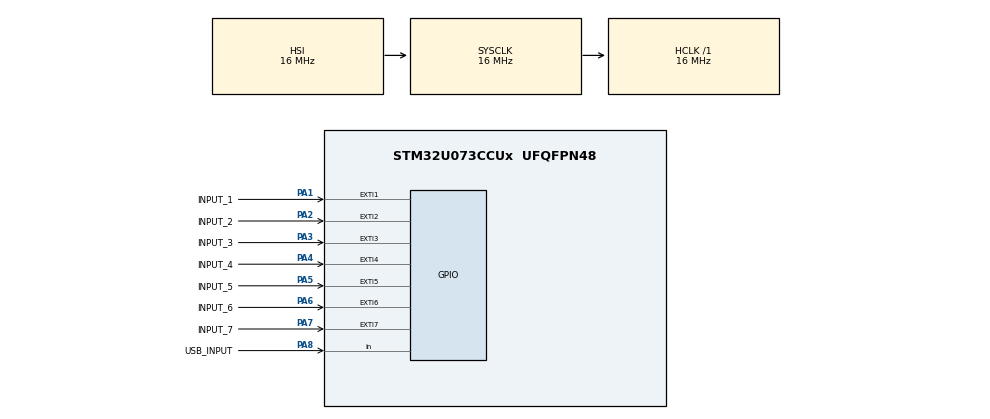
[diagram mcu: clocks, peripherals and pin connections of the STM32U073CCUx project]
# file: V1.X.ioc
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Dma.Request0=TIM2_CH1
Dma.Request1=TIM2_CH2
Dma.TIM2_CH1.0.Direction=DMA_MEMORY_TO_PERIPH
Dma.TIM2_CH1.0.EventEnable=DISABLE
Dma.TIM2_CH1.0.Instance=DMA1_Channel1
Dma.TIM2_CH1.0.MemDataAlignment=DMA_MDATAALIGN_HALFWORD
Dma.TIM2_CH1.0.MemInc=DMA_MINC_ENABLE
Dma.TIM2_CH1.0.Mode=DMA_CIRCULAR
Dma.TIM2_CH1.0.PeriphDataAlignment=DMA_PDATAALIGN_WORD
Dma.TIM2_CH1.0.PeriphInc=DMA_PINC_DISABLE
Dma.TIM2_CH1.0.Polarity=HAL_DMAMUX_REQ_GEN_RISING
Dma.TIM2_CH1.0.Priority=DMA_PRIORITY_HIGH
Dma.TIM2_CH1.0.RequestNumber=1
Dma.TIM2_CH1.0.SignalID=NONE
Dma.TIM2_CH1.0.SyncEnable=DISABLE
Dma.TIM2_CH1.0.SyncPolarity=HAL_DMAMUX_SYNC_NO_EVENT
Dma.TIM2_CH1.0.SyncRequestNumber=1
Dma.TIM2_CH1.0.SyncSignalID=NONE
Dma.TIM2_CH2.1.Direction=DMA_MEMORY_TO_PERIPH
Dma.TIM2_CH2.1.EventEnable=DISABLE
Dma.TIM2_CH2.1.Instance=DMA1_Channel2
Dma.TIM2_CH2.1.MemDataAlignment=DMA_MDATAALIGN_WORD
Dma.TIM2_CH2.1.MemInc=DMA_MINC_ENABLE
Dma.TIM2_CH2.1.Mode=DMA_CIRCULAR
Dma.TIM2_CH2.1.PeriphDataAlignment=DMA_PDATAALIGN_WORD
Dma.TIM2_CH2.1.PeriphInc=DMA_PINC_DISABLE
Dma.TIM2_CH2.1.Polarity=HAL_DMAMUX_REQ_GEN_RISING
Dma.TIM2_CH2.1.Priority=DMA_PRIORITY_HIGH
Dma.TIM2_CH2.1.RequestNumber=1
Dma.TIM2_CH2.1.SignalID=NONE
Dma.TIM2_CH2.1.SyncEnable=DISABLE
Dma.TIM2_CH2.1.SyncPolarity=HAL_DMAMUX_SYNC_NO_EVENT
Dma.TIM2_CH2.1.SyncRequestNumber=1
Dma.TIM2_CH2.1.SyncSignalID=NONE
Mcu.Family=STM32U0
Mcu.Name=STM32U073CCUx
Mcu.Package=UFQFPN48
NVIC.DMA1_Channel1_IRQn=true\:0\:0\:false\:false\:true\:false\:true\:true
NVIC.DMA1_Channel2_3_IRQn=true\:0\:0\:false\:false\:true\:false\:true\:true
NVIC.EXTI0_1_IRQn=true\:0\:0\:false\:false\:false\:true\:true\:true
NVIC.EXTI2_3_IRQn=true\:0\:0\:false\:false\:false\:true\:true\:true
NVIC.EXTI4_15_IRQn=true\:0\:0\:false\:false\:false\:true\:true\:true
NVIC.PriorityGroup=NVIC_PRIORITYGROUP_2
NVIC.TIM2_IRQn=true\:0\:0\:false\:false\:true\:true\:true\:true
PA1.GPIO_Label=INPUT_1
PA1.GPIO_PuPd=GPIO_PULLDOWN
PA1.Signal=GPXTI1
PA2.GPIO_Label=INPUT_2
PA2.GPIO_PuPd=GPIO_PULLDOWN
PA2.Signal=GPXTI2
PA3.GPIO_Label=INPUT_3
PA3.GPIO_PuPd=GPIO_PULLDOWN
PA3.Signal=GPXTI3
PA4.GPIO_Label=INPUT_4
PA4.GPIO_PuPd=GPIO_PULLDOWN
PA4.Signal=GPXTI4
PA5.GPIO_Label=INPUT_5
PA5.GPIO_PuPd=GPIO_PULLDOWN
PA5.Signal=GPXTI5
PA6.GPIO_Label=INPUT_6
PA6.GPIO_PuPd=GPIO_PULLDOWN
PA6.Signal=GPXTI6
PA7.GPIO_Label=INPUT_7
PA7.GPIO_PuPd=GPIO_PULLDOWN
PA7.Signal=GPXTI7
PA8.GPIO_Label=USB_INPUT
PA8.GPIO_PuPd=GPIO_PULLDOWN
PA8.Signal=GPIO_Input
ProjectManager.HeapSize=0x200
ProjectManager.StackSize=0x400
ProjectManager.TargetToolchain=CMake
RCC.AHBFreq_Value=16000000
RCC.CortexFreq_Value=16000000
RCC.HCLKFreq_Value=16000000
RCC.HSE_VALUE=4000000
RCC.HSI48_VALUE=48000000
RCC.HSI_VALUE=16000000
RCC.LSE_VALUE=32768
RCC.MSIClockRangeVal=RCC_MSIRANGE_11
RCC.MSI_VALUE=48000000
RCC.SYSCLKFreq_VALUE=16000000
RCC.USBFreq_Value=48000000
RCC.VCOOutputFreq_Value=64000000
RCC.VDD_VALUE=3
TIM2.Channel-PWM\ Generation1\ No\ Output=TIM_CHANNEL_1
TIM2.Channel-PWM\ Generation2\ No\ Output=TIM_CHANNEL_2
TIM2.Period=124
TIM2.Prescaler=15
TIM2.Pulse-PWM\ Generation2\ No\ Output=10
VP_PWR_VS_SECSignals.Mode=Security/Privilege
VP_TIM2_VS_ClockSourceINT.Mode=Internal
VP_TIM2_VS_no_output1.Mode=PWM Generation1 No Output
VP_TIM2_VS_no_output2.Mode=PWM Generation2 No Output
board=custom

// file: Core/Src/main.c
/* USER CODE BEGIN Header */
/**
  ******************************************************************************
  * @file           : main.c
  * @brief          : Main program body
  ******************************************************************************
  * @attention
  *
  * Copyright (c) 2026 STMicroelectronics.
  * All rights reserved.
  *
  * This software is licensed under terms that can be found in the LICENSE file
  * in the root directory of this software component.
  * If no LICENSE file comes with this software, it is provided AS-IS.
  *
  ******************************************************************************
  */
/* USER CODE END Header */
#include "main.h"

/* USER CODE BEGIN Includes */

#include <stdbool.h>
#include "connect-4-board.h"

/* USER CODE END Includes */

/* USER CODE BEGIN PD */

#define MODER_REG_INPUT   0x00000000U  // [1:0] = 00 == Input
#define MODER_REG_OUTPUT  0x55555555U  // [1:0] = 01 == Output

// These represent GPIO pin numbers in port B, which could change between hardware versions
#define ROW_6_POS         0U
#define ROW_5_POS         1U
#define ROW_4_POS         2U
#define ROW_3_POS         3U
#define ROW_2_POS         4U
#define ROW_1_POS         5U

#define COL_1_POS         6U
#define COL_2_POS         7U
#define COL_3_POS         8U
#define COL_4_POS         9U
#define COL_5_POS         10U
#define COL_6_POS         11U
#define COL_7_POS         12U

// ODR bits (16 bit reg)
// Bit operations are taken care of by compiler, so at runtime it will be a constant
#define ROW_6_ODR         ((uint16_t)(1U << ROW_6_POS))

#define COL_1_ODR         ((uint16_t)(1U << COL_1_POS))

// MODER bits (32 bit reg)
#define ROW_6_MODER       ((uint32_t)(0x3UL << (ROW_6_POS * 2)))
#define ROW_5_MODER       ((uint32_t)(0x3UL << (ROW_5_POS * 2)))
#define ROW_4_MODER       ((uint32_t)(0x3UL << (ROW_4_POS * 2)))
#define ROW_3_MODER       ((uint32_t)(0x3UL << (ROW_3_POS * 2)))
#define ROW_2_MODER       ((uint32_t)(0x3UL << (ROW_2_POS * 2)))
#define ROW_1_MODER       ((uint32_t)(0x3UL << (ROW_1_POS * 2)))

#define COL_1_MODER       ((uint32_t)(0x3UL << (COL_1_POS * 2)))
#define COL_2_MODER       ((uint32_t)(0x3UL << (COL_2_POS * 2)))
#define COL_3_MODER       ((uint32_t)(0x3UL << (COL_3_POS * 2)))
#define COL_4_MODER       ((uint32_t)(0x3UL << (COL_4_POS * 2)))
#define COL_5_MODER       ((uint32_t)(0x3UL << (COL_5_POS * 2)))
#define COL_6_MODER       ((uint32_t)(0x3UL << (COL_6_POS * 2)))
#define COL_7_MODER       ((uint32_t)(0x3UL << (COL_7_POS * 2)))
/* USER CODE END PD */

/* USER CODE BEGIN PM */

#define EXTI_LINES_1_7_MASK    (EXTI_IMR1_IM1 | EXTI_IMR1_IM2 | EXTI_IMR1_IM3 | \
                                EXTI_IMR1_IM4 | EXTI_IMR1_IM5 | EXTI_IMR1_IM6 | \
                                EXTI_IMR1_IM7)

#define EXTI_LINES_1_7_PENDING (EXTI_RPR1_RPIF1 | EXTI_RPR1_RPIF2 | EXTI_RPR1_RPIF3 | \
                                EXTI_RPR1_RPIF4 | EXTI_RPR1_RPIF5 | EXTI_RPR1_RPIF6 | \
                                EXTI_RPR1_RPIF7)

/* USER CODE END PM */

TIM_HandleTypeDef htim2;
DMA_HandleTypeDef hdma_tim2_ch1;
DMA_HandleTypeDef hdma_tim2_ch2;

/* USER CODE BEGIN PV */

volatile uint8_t player_button_input = 0U; // Stores pressed button ID (1-7). 0 means no input.
volatile bool input_received = false;      // Flag to signal the game loop

volatile uint32_t gpiob_pin_modes[42] = {
    (ROW_6_MODER | COL_1_MODER) & MODER_REG_OUTPUT, // Bitboard 0 (Bottom Left)
    (ROW_5_MODER | COL_1_MODER) & MODER_REG_OUTPUT, // Bitboard 1
    (ROW_4_MODER | COL_1_MODER) & MODER_REG_OUTPUT, // Bitboard 2
    (ROW_3_MODER | COL_1_MODER) & MODER_REG_OUTPUT, // etc
    (ROW_2_MODER | COL_1_MODER) & MODER_REG_OUTPUT,
    (ROW_1_MODER | COL_1_MODER) & MODER_REG_OUTPUT,

    (ROW_6_MODER | COL_2_MODER) & MODER_REG_OUTPUT,
    (ROW_5_MODER | COL_2_MODER) & MODER_REG_OUTPUT,
    (ROW_4_MODER | COL_2_MODER) & MODER_REG_OUTPUT,
    (ROW_3_MODER | COL_2_MODER) & MODER_REG_OUTPUT,
    (ROW_2_MODER | COL_2_MODER) & MODER_REG_OUTPUT,
    (ROW_1_MODER | COL_2_MODER) & MODER_REG_OUTPUT,

    (ROW_6_MODER | COL_3_MODER) & MODER_REG_OUTPUT,
    (ROW_5_MODER | COL_3_MODER) & MODER_REG_OUTPUT,
    (ROW_4_MODER | COL_3_MODER) & MODER_REG_OUTPUT,
    (ROW_3_MODER | COL_3_MODER) & MODER_REG_OUTPUT,
    (ROW_2_MODER | COL_3_MODER) & MODER_REG_OUTPUT,
    (ROW_1_MODER | COL_3_MODER) & MODER_REG_OUTPUT,

    (ROW_6_MODER | COL_4_MODER) & MODER_REG_OUTPUT,
    (ROW_5_MODER | COL_4_MODER) & MODER_REG_OUTPUT,
    (ROW_4_MODER | COL_4_MODER) & MODER_REG_OUTPUT,
    (ROW_3_MODER | COL_4_MODER) & MODER_REG_OUTPUT,
    (ROW_2_MODER | COL_4_MODER) & MODER_REG_OUTPUT,
    (ROW_1_MODER | COL_4_MODER) & MODER_REG_OUTPUT,

    (ROW_6_MODER | COL_5_MODER) & MODER_REG_OUTPUT,
    (ROW_5_MODER | COL_5_MODER) & MODER_REG_OUTPUT,
    (ROW_4_MODER | COL_5_MODER) & MODER_REG_OUTPUT,
    (ROW_3_MODER | COL_5_MODER) & MODER_REG_OUTPUT,
    (ROW_2_MODER | COL_5_MODER) & MODER_REG_OUTPUT,
    (ROW_1_MODER | COL_5_MODER) & MODER_REG_OUTPUT,

    (ROW_6_MODER | COL_6_MODER) & MODER_REG_OUTPUT,
    (ROW_5_MODER | COL_6_MODER) & MODER_REG_OUTPUT,
    (ROW_4_MODER | COL_6_MODER) & MODER_REG_OUTPUT,
    (ROW_3_MODER | COL_6_MODER) & MODER_REG_OUTPUT,
    (ROW_2_MODER | COL_6_MODER) & MODER_REG_OUTPUT,
    (ROW_1_MODER | COL_6_MODER) & MODER_REG_OUTPUT,

    (ROW_6_MODER | COL_7_MODER) & MODER_REG_OUTPUT,
    (ROW_5_MODER | COL_7_MODER) & MODER_REG_OUTPUT,
    (ROW_4_MODER | COL_7_MODER) & MODER_REG_OUTPUT,
    (ROW_3_MODER | COL_7_MODER) & MODER_REG_OUTPUT,
    (ROW_2_MODER | COL_7_MODER) & MODER_REG_OUTPUT,
    (ROW_1_MODER | COL_7_MODER) & MODER_REG_OUTPUT
};

volatile uint16_t gpiob_output_data[42] = {0U};  // Cast to uint32_t with 0-extension before writing into reg

uint64_t game_board = 0U;
uint64_t p1_moves = 0U;
uint8_t move_num = 0U;
extern unsigned int MINIMAX_MAX_DEPTH;
void (*player_color_set)(uint8_t);
void (*ai_color_set)(uint8_t);

/* USER CODE END PV */

void SystemClock_Config(void);
static void MX_GPIO_Init(void);
static void MX_DMA_Init(void);
static void MX_TIM2_Init(void);
/* USER CODE BEGIN PFP */

static void unified_button_handler(uint32_t pending_register) {

    EXTI->RPR1 = pending_register;

    if ((!input_received) && (pending_register != 0U)) {
        // Find interrupt source by counting trailing zeros to get lowest bit index
        player_button_input = (uint8_t)__builtin_ctz(pending_register);
        input_received = true;
    }
}

// Expected function signatures for interrupt callbacks
void EXTI0_1_IRQHandler(void) {
    unified_button_handler(EXTI->RPR1);
}

void EXTI2_3_IRQHandler(void) {
    unified_button_handler(EXTI->RPR1);
}

void EXTI4_15_IRQHandler(void) {
    unified_button_handler(EXTI->RPR1);
}

uint8_t bitboard_to_buffer_index(uint8_t bitboard_index) {
    return bitboard_index - (bitboard_index / 7);
}

// Leverage existing macros and shift relative to their positions
// Change operations to /6 and %6 if using buffer index
uint16_t get_row_odr(uint8_t bitboard_index) {
    // Bitboard index % 7 gives row 0 (bottom) to 5 (top)
    return (uint16_t)(ROW_6_ODR << (bitboard_index % 7));
}

uint16_t get_col_odr(uint8_t bitboard_index) {
    // Bitboard index / 7 gives col 0 to 6
    return (uint16_t)(COL_1_ODR << (bitboard_index / 7));
}

void set_color_row(uint8_t bitboard_position) {
    gpiob_output_data[bitboard_to_buffer_index(bitboard_position)] = get_row_odr(bitboard_position);
}

void set_color_col(uint8_t bitboard_position) {
    gpiob_output_data[bitboard_to_buffer_index(bitboard_position)] = get_col_odr(bitboard_position);
}

void set_color_none(uint8_t bitboard_position) {
    gpiob_output_data[bitboard_to_buffer_index(bitboard_position)] = 0U;
}

void flash_winning_moves(uint64_t game_board, bool is_player_win) {
    uint64_t winning_moves = isolate_winning_moves(game_board);
    uint8_t move_indices[4U]; // Note this intentionally has a maximum of 4 for simplicity
    void (*color_set_funct)(uint8_t);

    // Get winning bit indeces
    uint8_t count = 0U;
    for (uint8_t index = 0U; index < 64U && count < 4U; index++) {
        if ((winning_moves & (1ULL << index)) != 0U) {
            move_indices[count++] = index;
        }
    }

    // Get function pointer for correct color
    if (is_player_win){
        color_set_funct = &set_color_col;
    } else {
        color_set_funct = &set_color_row;
    }

    for (uint8_t i = 0; i < 4U; ++i) {

      set_color_none(move_indices[0]);
      set_color_none(move_indices[1]);
      set_color_none(move_indices[2]);
      set_color_none(move_indices[3]);

      HAL_Delay(500);

      color_set_funct(move_indices[0]);
      color_set_funct(move_indices[1]);
      color_set_funct(move_indices[2]);
      color_set_funct(move_indices[3]);

      HAL_Delay(500);
    }
}

void end_player_win(uint64_t game_board) {
    flash_winning_moves(game_board, true);
    HAL_Delay(3000);

}

void end_ai_win(uint64_t game_board) {
    flash_winning_moves(game_board, false);
    HAL_Delay(3000);
}

void clear_board(void) {
    for (uint8_t i = 0U; i < 42U; ++i) {
        gpiob_output_data[i] = 0U;
    }
}

/* USER CODE END PFP */

int main(void)
{

  /* MCU Configuration--------------------------------------------------------*/

  /* Reset of all peripherals, Initializes the Flash interface and the Systick. */
  HAL_Init();

  /* USER CODE BEGIN Init */

  // Power Supply Voltage Monitoring Configuration
  if ((FLASH->OPTR & FLASH_OPTR_BOR_LEV) != OB_BOR_LEVEL_1) {
      FLASH_OBProgramInitTypeDef OptionsBytesStruct = {0};

      // Clear a stale error
      __HAL_FLASH_CLEAR_FLAG(FLASH_FLAG_OPERR);

      HAL_FLASH_Unlock();
      HAL_FLASH_OB_Unlock();

      // Hardcoded payload for BOR Level 1
      OptionsBytesStruct.OptionType = OPTIONBYTE_USER;
      OptionsBytesStruct.USERType   = OB_USER_BOR_EN | OB_USER_BOR_LEV;
      OptionsBytesStruct.USERConfig = OB_BOR_ENABLE | OB_BOR_LEVEL_1;

      // Program and reload option bytes
      if (HAL_FLASHEx_OBProgram(&OptionsBytesStruct) == HAL_OK) {
          // Reboots device with new 2.2V threshold
          HAL_FLASH_OB_Launch();
      }
      // Option bytes programming has failed

      // Volatile to prevent optimizing out
      // To be read on debug
      // volatile uint32_t flash_error = HAL_FLASH_GetError();

      // Fallback safety locks
      HAL_FLASH_OB_Lock();
      HAL_FLASH_Lock();

      Error_Handler();
  }

  // Enable BOR/PVD Periodic Sampling
  // Enable Power interface clock
  SET_BIT(RCC->APBENR1, RCC_APBENR1_PWREN);

  // Enable ultra-low-power sampling
  SET_BIT(PWR->CR3, PWR_CR3_ENULP);

  /* USER CODE END Init */

  /* Configure the system clock */
  SystemClock_Config();

  /* Initialize all configured peripherals */
  MX_GPIO_Init();
  MX_DMA_Init();
  MX_TIM2_Init();
  /* USER CODE BEGIN 2 */

  // DMA channel driving GPIOB ODR
  hdma_tim2_ch1.Instance = DMA1_Channel1;
  hdma_tim2_ch1.Init.Request = DMA_REQUEST_TIM2_UP;
  hdma_tim2_ch1.Init.Direction = DMA_MEMORY_TO_PERIPH;
  hdma_tim2_ch1.Init.PeriphInc = DMA_PINC_DISABLE;
  hdma_tim2_ch1.Init.MemInc = DMA_MINC_ENABLE;
  hdma_tim2_ch1.Init.PeriphDataAlignment = DMA_PDATAALIGN_HALFWORD;
  hdma_tim2_ch1.Init.MemDataAlignment = DMA_MDATAALIGN_HALFWORD;
  hdma_tim2_ch1.Init.Mode = DMA_CIRCULAR;
  hdma_tim2_ch1.Init.Priority = DMA_PRIORITY_HIGH;
  if (HAL_DMA_Init(&hdma_tim2_ch1) != HAL_OK) {
      Error_Handler();
  }

  // DMA channel driving GPIOB MODER
  hdma_tim2_ch2.Instance = DMA1_Channel2;
  hdma_tim2_ch2.Init.Request = DMA_REQUEST_TIM2_UP;
  hdma_tim2_ch2.Init.Direction = DMA_MEMORY_TO_PERIPH;
  hdma_tim2_ch2.Init.PeriphInc = DMA_PINC_DISABLE;
  hdma_tim2_ch2.Init.MemInc = DMA_MINC_ENABLE;
  hdma_tim2_ch2.Init.PeriphDataAlignment = DMA_PDATAALIGN_WORD;
  hdma_tim2_ch2.Init.MemDataAlignment = DMA_MDATAALIGN_WORD;
  hdma_tim2_ch2.Init.Mode = DMA_CIRCULAR;
  hdma_tim2_ch2.Init.Priority = DMA_PRIORITY_HIGH;
  if (HAL_DMA_Init(&hdma_tim2_ch2) != HAL_OK) {
      Error_Handler();
  }

  // Point DMA to screen buffers and the respective PortB registers
  HAL_DMA_Start(&hdma_tim2_ch2, (uint32_t)gpiob_pin_modes, (uint32_t)&(GPIOB->MODER), 42);
  HAL_DMA_Start(&hdma_tim2_ch1, (uint32_t)gpiob_output_data, (uint32_t)&(GPIOB->ODR), 42);

  // Enable the Timer to trigger DMA updates
  __HAL_TIM_ENABLE_DMA(&htim2, TIM_DMA_UPDATE);

  HAL_TIM_Base_Start(&htim2);

  // Signal successful startup, sampling user configurations
  set_color_row(5);

  HAL_Delay(500);

  // Config parameters as follows:
  // Inputs [1:6] - AI recursion depth  (default: 5)
  // Input  [7]   - AI starts           (default: false)
  uint32_t config_parameters = GPIOA->IDR;

  // Shift by 1 so first button aligns to bit 0
  uint32_t depth_buttons = (config_parameters >> 1) & 0x3F;

  if (depth_buttons != 0U) {
      MINIMAX_MAX_DEPTH = __builtin_ctz(depth_buttons) + 1;
  }

  // Set first player move color
  if ((config_parameters & (1U << 7)) != 0U) {
      // Offset move number so that AI goes first
      move_num = 1;

      player_color_set = &set_color_row;
      ai_color_set = &set_color_col;
  } else {
    player_color_set = &set_color_col;
    ai_color_set = &set_color_row;
  }

  set_color_none(5);

  /* USER CODE END 2 */

  /* Infinite loop */
  /* USER CODE BEGIN WHILE */
  while (1)
  {
    while (!is_full(game_board))
    {
      if (move_num % 2 == 0)
      {
        uint8_t column;
        int location;

        for (;;) {
          player_button_input = 0;
          input_received = false;

          while (!input_received) {
            __WFI(); // TODO: Give AI additional computation time during wait
          }

          if (player_button_input < 1 || player_button_input > 7) {
            continue;
          }
          column = player_button_input - 1;

          if (is_playable(game_board, column)) {
            break;
          }
        }

        location = play_move(&game_board, column);
        if (location < 0) {
          break;
        }

        player_color_set(location);

        p1_moves |= (1ULL << location);
        move_num++;

        if (is_won(p1_moves)) {
          break;
        }
      }
      else
      {
        int bot_column = choose_best_ai_move(game_board, p1_moves);
        if (bot_column < 0) {
          break;
        }

        int location = play_move(&game_board, (uint8_t)bot_column);
        if (location < 0) {
          break;
        }

        ai_color_set(location);

        move_num++;

        if (is_won(game_board ^ p1_moves)) {
          break;
        }
      }
    }

    HAL_Delay(1000);

    if (is_won(p1_moves)) {
      end_player_win(p1_moves);
    }
    else if (is_won(game_board ^ p1_moves)) {
      end_ai_win(game_board ^ p1_moves);
    }

    game_board = 0;
    p1_moves = 0;
    move_num = 0;

    clear_board();

    /* USER CODE END WHILE */

  }
}

void SystemClock_Config(void)
{
  RCC_OscInitTypeDef RCC_OscInitStruct = {0};
  RCC_ClkInitTypeDef RCC_ClkInitStruct = {0};

  /** Configure the main internal regulator output voltage
  */
  HAL_PWREx_ControlVoltageScaling(PWR_REGULATOR_VOLTAGE_SCALE2);

  /** Initializes the RCC Oscillators according to the specified parameters
  * in the RCC_OscInitTypeDef structure.
  */
  RCC_OscInitStruct.OscillatorType = RCC_OSCILLATORTYPE_HSI;
  RCC_OscInitStruct.HSIState = RCC_HSI_ON;
  RCC_OscInitStruct.HSICalibrationValue = RCC_HSICALIBRATION_DEFAULT;
  RCC_OscInitStruct.PLL.PLLState = RCC_PLL_NONE;
  if (HAL_RCC_OscConfig(&RCC_OscInitStruct) != HAL_OK)
  {
    Error_Handler();
  }

  /** Initializes the CPU, AHB and APB buses clocks
  */
  RCC_ClkInitStruct.ClockType = RCC_CLOCKTYPE_HCLK|RCC_CLOCKTYPE_SYSCLK
                              |RCC_CLOCKTYPE_PCLK1;
  RCC_ClkInitStruct.SYSCLKSource = RCC_SYSCLKSOURCE_HSI;
  RCC_ClkInitStruct.AHBCLKDivider = RCC_SYSCLK_DIV1;
  RCC_ClkInitStruct.APB1CLKDivider = RCC_HCLK_DIV1;

  if (HAL_RCC_ClockConfig(&RCC_ClkInitStruct, FLASH_LATENCY_1) != HAL_OK)
  {
    Error_Handler();
  }
}

static void MX_TIM2_Init(void)
{

  TIM_ClockConfigTypeDef sClockSourceConfig = {0};
  TIM_MasterConfigTypeDef sMasterConfig = {0};
  TIM_OC_InitTypeDef sConfigOC = {0};

  htim2.Instance = TIM2;
  htim2.Init.Prescaler = 15;
  htim2.Init.CounterMode = TIM_COUNTERMODE_UP;
  htim2.Init.Period = 124;
  htim2.Init.ClockDivision = TIM_CLOCKDIVISION_DIV1;
  htim2.Init.AutoReloadPreload = TIM_AUTORELOAD_PRELOAD_DISABLE;
  if (HAL_TIM_Base_Init(&htim2) != HAL_OK)
  {
    Error_Handler();
  }
  sClockSourceConfig.ClockSource = TIM_CLOCKSOURCE_INTERNAL;
  if (HAL_TIM_ConfigClockSource(&htim2, &sClockSourceConfig) != HAL_OK)
  {
    Error_Handler();
  }
  if (HAL_TIM_PWM_Init(&htim2) != HAL_OK)
  {
    Error_Handler();
  }
  sMasterConfig.MasterOutputTrigger = TIM_TRGO_RESET;
  sMasterConfig.MasterSlaveMode = TIM_MASTERSLAVEMODE_DISABLE;
  if (HAL_TIMEx_MasterConfigSynchronization(&htim2, &sMasterConfig) != HAL_OK)
  {
    Error_Handler();
  }
  sConfigOC.OCMode = TIM_OCMODE_PWM1;
  sConfigOC.Pulse = 0;
  sConfigOC.OCPolarity = TIM_OCPOLARITY_HIGH;
  sConfigOC.OCFastMode = TIM_OCFAST_DISABLE;
  if (HAL_TIM_PWM_ConfigChannel(&htim2, &sConfigOC, TIM_CHANNEL_1) != HAL_OK)
  {
    Error_Handler();
  }
  sConfigOC.Pulse = 10;
  if (HAL_TIM_PWM_ConfigChannel(&htim2, &sConfigOC, TIM_CHANNEL_2) != HAL_OK)
  {
    Error_Handler();
  }

}

static void MX_DMA_Init(void)
{

  /* DMA controller clock enable */
  __HAL_RCC_DMA1_CLK_ENABLE();

  /* DMA interrupt init */
  /* DMA1_Channel1_IRQn interrupt configuration */
  HAL_NVIC_SetPriority(DMA1_Channel1_IRQn, 0, 0);
  HAL_NVIC_EnableIRQ(DMA1_Channel1_IRQn);
  /* DMA1_Channel2_3_IRQn interrupt configuration */
  HAL_NVIC_SetPriority(DMA1_Channel2_3_IRQn, 0, 0);
  HAL_NVIC_EnableIRQ(DMA1_Channel2_3_IRQn);

}

static void MX_GPIO_Init(void)
{
  GPIO_InitTypeDef GPIO_InitStruct = {0};
  /* USER CODE BEGIN MX_GPIO_Init_1 */

  // Must add manually since CubeMX sees no GPIOB pins used
  __HAL_RCC_GPIOB_CLK_ENABLE();

  /* USER CODE END MX_GPIO_Init_1 */

  /* GPIO Ports Clock Enable */
  __HAL_RCC_GPIOA_CLK_ENABLE();

  /*Configure GPIO pins : INPUT_1_Pin INPUT_2_Pin INPUT_3_Pin INPUT_4_Pin
                           INPUT_5_Pin INPUT_6_Pin INPUT_7_Pin */
  GPIO_InitStruct.Pin = INPUT_1_Pin|INPUT_2_Pin|INPUT_3_Pin|INPUT_4_Pin
                          |INPUT_5_Pin|INPUT_6_Pin|INPUT_7_Pin;
  GPIO_InitStruct.Mode = GPIO_MODE_IT_RISING;
  GPIO_InitStruct.Pull = GPIO_PULLDOWN;
  HAL_GPIO_Init(GPIOA, &GPIO_InitStruct);

  /*Configure GPIO pin : USB_INPUT_Pin */
  GPIO_InitStruct.Pin = USB_INPUT_Pin;
  GPIO_InitStruct.Mode = GPIO_MODE_INPUT;
  GPIO_InitStruct.Pull = GPIO_PULLDOWN;
  HAL_GPIO_Init(USB_INPUT_GPIO_Port, &GPIO_InitStruct);

  /* EXTI interrupt init*/
  HAL_NVIC_SetPriority(EXTI0_1_IRQn, 0, 0);
  HAL_NVIC_EnableIRQ(EXTI0_1_IRQn);

  HAL_NVIC_SetPriority(EXTI2_3_IRQn, 0, 0);
  HAL_NVIC_EnableIRQ(EXTI2_3_IRQn);

  HAL_NVIC_SetPriority(EXTI4_15_IRQn, 0, 0);
  HAL_NVIC_EnableIRQ(EXTI4_15_IRQn);

}

void Error_Handler(void)
{
  __disable_irq();
  while (1)
  {
  }
}
